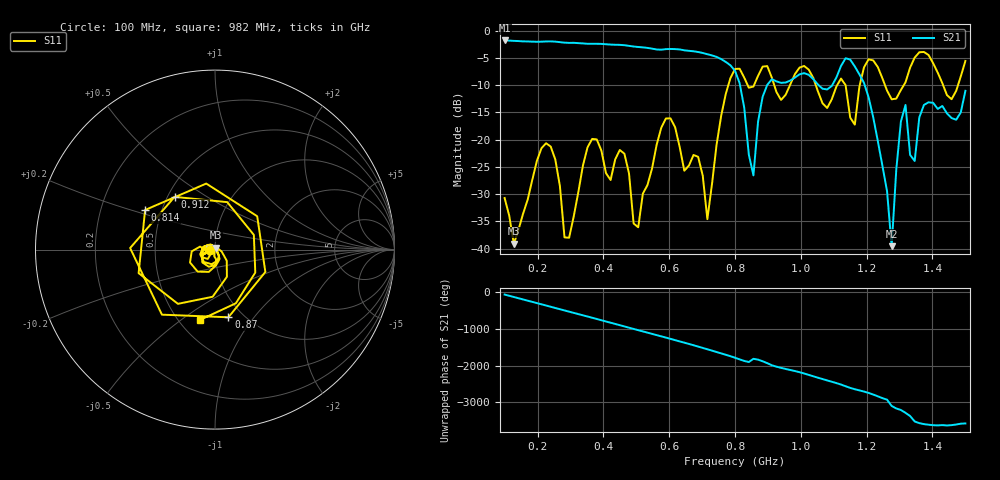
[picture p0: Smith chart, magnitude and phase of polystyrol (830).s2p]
! NanoVNA-App
! Date: 2025-09-25 15:36:20
! Start: 100MHz Stop: 1,5GHz Points: 101
! S-Parameter data: F S11 S21 S12 S22
# Hz S RI R 50
!  Frequency  S11_Real  S11_Imag  S21_Real  S21_Imag  S12_Real  S12_Imag  S22_Real  S22_Imag
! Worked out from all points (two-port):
!   101 points, 100 MHz to 1.5 GHz, reference 50 ohm
!   highest |S21| = -1.80 dB at 100 MHz (marker M1); lowest = -39.6 dB at 1.276 GHz (marker M2)
!   |S21| within 3 dB of the highest: start of sweep to 743.1 MHz
!   lowest |S11| = -39.1 dB at 128 MHz (marker M3), VSWR 1.02, Z = 50.3 + j1.06 ohm
!   |S11| at or under -10 dB: start of sweep to 779.8 MHz; 1.045 GHz to 1.11 GHz (65.03 MHz wide, 6.03 % of centre); 1.256 GHz to 1.313 GHz (57.14 MHz wide, 4.45 % of centre)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
!   S12 and S22 are empty: the file has one direction only
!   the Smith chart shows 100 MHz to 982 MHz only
!   S11 on the Smith chart (normalised r, x): 100 MHz: 0.94, -0.01; 814 MHz: 0.40, +0.22; 870 MHz: 0.85, -0.76; 912 MHz: 0.54, +0.37; 982 MHz: 0.64, -0.59
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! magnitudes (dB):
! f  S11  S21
! 100 MHz  -30.7  -1.8
! 128 MHz  -39.1  -1.9
! 212 MHz  -21.6  -2.0
! 282 MHz  -37.9  -2.2
! 338 MHz  -24.7  -2.3
! 464 MHz  -22.6  -2.7
! 506 MHz  -36.1  -3.0
! 576 MHz  -17.8  -3.5
! 716 MHz  -34.6  -4.3
! 800 MHz  -7.0  -7.4
! 814 MHz  -7.0  -9.6
! 856 MHz  -10.3  -26.6
! 870 MHz  -8.3  -16.7
! 912 MHz  -8.6  -8.9
! 982 MHz  -8.0  -8.6
! 1.038 GHz  -8.7  -8.9
! 1.164 GHz  -17.3  -6.6
! 1.192 GHz  -6.7  -9.6
! 1.276 GHz  -12.6  -39.6
! 1.318 GHz  -9.5  -13.6
! 1.346 GHz  -4.9  -23.9
! 1.5 GHz  -5.6  -11.0
